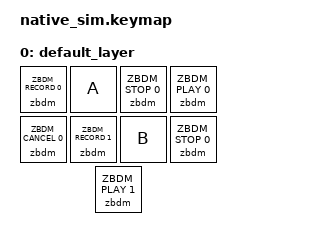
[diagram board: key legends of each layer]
/*
 * Copyright (c) 2026 The ZMK Behavior Dynamic Macro Contributors
 *
 * SPDX-License-Identifier: MIT
 */

#include <dt-bindings/zmk/keys.h>
#include <behaviors.dtsi>
#include <behaviors/zbdm.dtsi>
#include <dt-bindings/zmk/kscan_mock.h>
#include <dt-bindings/zmk/zbdm.h>

/ {
    keymap {
        compatible = "zmk,keymap";

        default_layer {
            bindings = <&zbdm ZBDM_RECORD 0 &kp A &zbdm ZBDM_STOP 0 &zbdm ZBDM_PLAY 0
                        &zbdm ZBDM_CANCEL 0 &zbdm ZBDM_RECORD 1 &kp B &zbdm ZBDM_STOP 0
                        &zbdm ZBDM_PLAY 1>;
        };
    };
};

&kscan {
    rows = <1>;
    columns = <9>;
    events = <
        ZMK_MOCK_PRESS(0,0,10) ZMK_MOCK_RELEASE(0,0,20)
        ZMK_MOCK_PRESS(0,1,30)
        ZMK_MOCK_PRESS(0,2,40) ZMK_MOCK_RELEASE(0,2,50)
        ZMK_MOCK_RELEASE(0,1,60)
        ZMK_MOCK_PRESS(0,3,70) ZMK_MOCK_RELEASE(0,3,80)
        ZMK_MOCK_PRESS(0,4,90) ZMK_MOCK_RELEASE(0,4,100)
        ZMK_MOCK_PRESS(0,5,110) ZMK_MOCK_RELEASE(0,5,120)
        ZMK_MOCK_PRESS(0,6,130) ZMK_MOCK_RELEASE(0,6,140)
        ZMK_MOCK_PRESS(0,7,150) ZMK_MOCK_RELEASE(0,7,160)
        ZMK_MOCK_PRESS(0,8,170) ZMK_MOCK_RELEASE(0,8,180)
    >;
};
